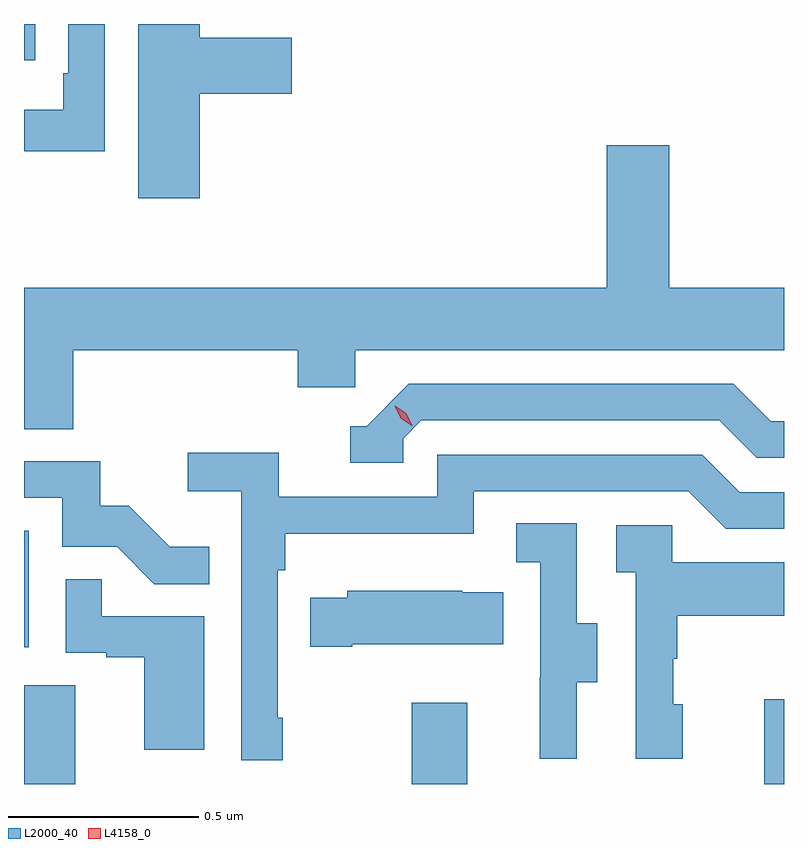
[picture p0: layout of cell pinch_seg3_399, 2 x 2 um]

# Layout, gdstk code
import gdstk
lib = gdstk.Library(unit=1e-6, precision=1e-09)
def R(c, l, rs):  # rectangles x0, y0, x1, y1
    for r in rs: c.add(gdstk.rectangle(r[:2], r[2:], *l))
def P(c, l, *ps):  # polygons
    for p in ps: c.add(gdstk.Polygon(p, *l))
L2000_40 = (2000, 40)
L4158_0 = (4158, 0)

pinch_seg3_399 = lib.new_cell('pinch_seg3_399')
R(pinch_seg3_399, L2000_40, [(930.706,691.782,930.841,692.042), (931.726,691.782,931.873,691.996), (932.654,691.782,932.706,692.005), (930.706,692.142,930.718,692.449), (930.706,693.687,930.736,693.782)])
P(pinch_seg3_399, L2000_40, [(931.168,693.599),(931.411,693.599),(931.411,693.746),(931.168,693.746),(931.168,693.782),(931.007,693.782),(931.007,693.324),(931.168,693.324)],
  [(930.918,693.782),(930.822,693.782),(930.822,693.652),(930.809,693.652),(930.809,693.556),(930.706,693.556),(930.706,693.447),(930.918,693.447)],
  [(930.836,692.924),(931.427,692.924),(931.427,692.826),(931.578,692.826),(931.578,692.924),(932.706,692.924),(932.706,693.088),(932.404,693.088),(932.404,693.463),(932.24,693.463),(932.24,693.088),(930.706,693.088),(930.706,692.716),(930.836,692.716)],
  [(931.704,692.691),(931.752,692.739),(932.535,692.739),(932.634,692.64),(932.706,692.64),(932.706,692.736),(932.671,692.736),(932.572,692.835),(931.719,692.835),(931.608,692.724),(931.565,692.724),(931.565,692.628),(931.704,692.628)],
  [(931.387,691.957),(931.374,691.957),(931.374,692.345),(931.394,692.345),(931.394,692.441),(931.89,692.441),(931.89,692.553),(932.454,692.553),(932.553,692.454),(932.706,692.454),(932.706,692.55),(932.59,692.55),(932.491,692.649),(931.794,692.649),(931.794,692.538),(931.376,692.538),(931.376,692.654),(931.137,692.654),(931.137,692.552),(931.278,692.552),(931.278,691.845),(931.387,691.845)],
  [(931.193,692.407),(931.089,692.407),(930.982,692.514),(930.906,692.514),(930.906,692.631),(930.706,692.631),(930.706,692.535),(930.807,692.535),(930.807,692.406),(930.951,692.406),(931.049,692.308),(931.193,692.308)],
  [(932.161,692.05),(932.215,692.05),(932.215,692.205),(932.16,692.205),(932.16,692.468),(932.001,692.468),(932.001,692.365),(932.064,692.365),(932.064,692.061),(932.063,692.061),(932.063,691.848),(932.161,691.848)],
  [(932.44,691.992),(932.415,691.992),(932.415,692.111),(932.425,692.111),(932.425,692.225),(932.706,692.225),(932.706,692.365),(932.412,692.365),(932.412,692.463),(932.265,692.463),(932.265,692.339),(932.316,692.339),(932.316,691.848),(932.44,691.848)],
  [(931.18,692.223),(930.911,692.223),(930.911,692.321),(930.816,692.321),(930.816,692.127),(930.923,692.127),(930.923,692.115),(931.022,692.115),(931.022,691.872),(931.18,691.872)],
  [(931.57,692.15),(931.967,692.15),(931.967,692.287),(931.859,692.287),(931.859,692.29),(931.557,692.29),(931.557,692.272),(931.459,692.272),(931.459,692.143),(931.57,692.143)])
P(pinch_seg3_399, L4158_0, [(931.727,692.725),(931.697,692.744),(931.681,692.777),(931.681,692.777),(931.681,692.777),(931.712,692.758),(931.728,692.725),(931.728,692.725)])

lib.write_gds('pinch_seg3_399.gds')
